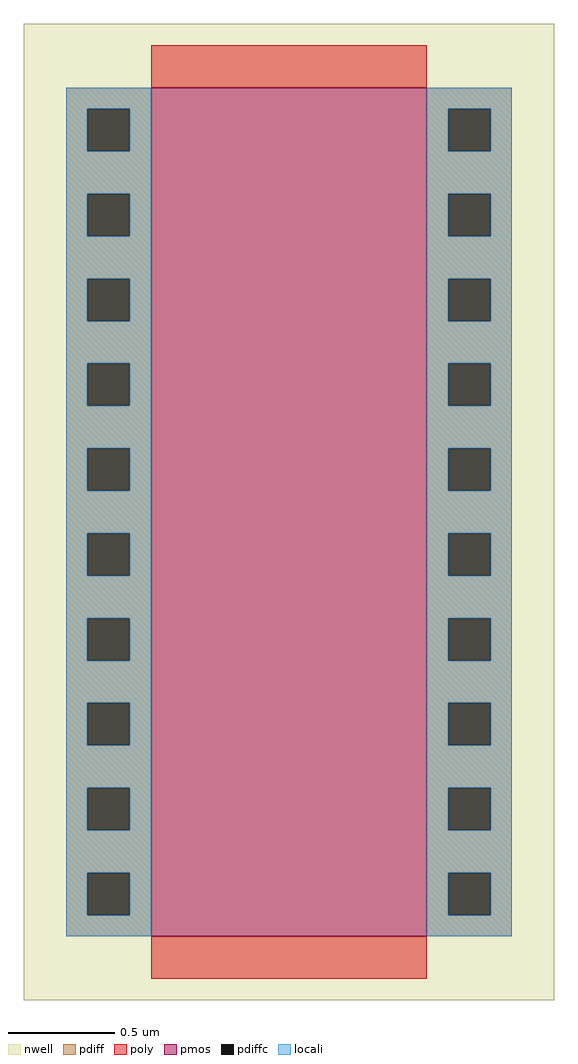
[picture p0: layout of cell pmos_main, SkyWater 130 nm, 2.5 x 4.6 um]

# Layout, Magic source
magic
tech sky130A
<< nwell >>
rect -60 220 190 680
<< pmos >>
rect 0 250 130 650
<< pdiff >>
rect -40 640 0 650
rect -40 620 -30 640
rect -10 620 0 640
rect -40 600 0 620
rect -40 580 -30 600
rect -10 580 0 600
rect -40 560 0 580
rect -40 540 -30 560
rect -10 540 0 560
rect -40 520 0 540
rect -40 500 -30 520
rect -10 500 0 520
rect -40 480 0 500
rect -40 460 -30 480
rect -10 460 0 480
rect -40 440 0 460
rect -40 420 -30 440
rect -10 420 0 440
rect -40 400 0 420
rect -40 380 -30 400
rect -10 380 0 400
rect -40 360 0 380
rect -40 340 -30 360
rect -10 340 0 360
rect -40 320 0 340
rect -40 300 -30 320
rect -10 300 0 320
rect -40 280 0 300
rect -40 260 -30 280
rect -10 260 0 280
rect -40 250 0 260
rect 130 640 170 650
rect 130 620 140 640
rect 160 620 170 640
rect 130 600 170 620
rect 130 580 140 600
rect 160 580 170 600
rect 130 560 170 580
rect 130 540 140 560
rect 160 540 170 560
rect 130 520 170 540
rect 130 500 140 520
rect 160 500 170 520
rect 130 480 170 500
rect 130 460 140 480
rect 160 460 170 480
rect 130 440 170 460
rect 130 420 140 440
rect 160 420 170 440
rect 130 400 170 420
rect 130 380 140 400
rect 160 380 170 400
rect 130 360 170 380
rect 130 340 140 360
rect 160 340 170 360
rect 130 320 170 340
rect 130 300 140 320
rect 160 300 170 320
rect 130 280 170 300
rect 130 260 140 280
rect 160 260 170 280
rect 130 250 170 260
<< pdiffc >>
rect -30 620 -10 640
rect -30 580 -10 600
rect -30 540 -10 560
rect -30 500 -10 520
rect -30 460 -10 480
rect -30 420 -10 440
rect -30 380 -10 400
rect -30 340 -10 360
rect -30 300 -10 320
rect -30 260 -10 280
rect 140 620 160 640
rect 140 580 160 600
rect 140 540 160 560
rect 140 500 160 520
rect 140 460 160 480
rect 140 420 160 440
rect 140 380 160 400
rect 140 340 160 360
rect 140 300 160 320
rect 140 260 160 280
<< poly >>
rect 0 650 130 670
rect 0 230 130 250
<< locali >>
rect -40 640 0 650
rect -40 620 -30 640
rect -10 620 0 640
rect -40 600 0 620
rect -40 580 -30 600
rect -10 580 0 600
rect -40 560 0 580
rect -40 540 -30 560
rect -10 540 0 560
rect -40 520 0 540
rect -40 500 -30 520
rect -10 500 0 520
rect -40 480 0 500
rect -40 460 -30 480
rect -10 460 0 480
rect -40 440 0 460
rect -40 420 -30 440
rect -10 420 0 440
rect -40 400 0 420
rect -40 380 -30 400
rect -10 380 0 400
rect -40 360 0 380
rect -40 340 -30 360
rect -10 340 0 360
rect -40 320 0 340
rect -40 300 -30 320
rect -10 300 0 320
rect -40 280 0 300
rect -40 260 -30 280
rect -10 260 0 280
rect -40 250 0 260
rect 130 640 170 650
rect 130 620 140 640
rect 160 620 170 640
rect 130 600 170 620
rect 130 580 140 600
rect 160 580 170 600
rect 130 560 170 580
rect 130 540 140 560
rect 160 540 170 560
rect 130 520 170 540
rect 130 500 140 520
rect 160 500 170 520
rect 130 480 170 500
rect 130 460 140 480
rect 160 460 170 480
rect 130 440 170 460
rect 130 420 140 440
rect 160 420 170 440
rect 130 400 170 420
rect 130 380 140 400
rect 160 380 170 400
rect 130 360 170 380
rect 130 340 140 360
rect 160 340 170 360
rect 130 320 170 340
rect 130 300 140 320
rect 160 300 170 320
rect 130 280 170 300
rect 130 260 140 280
rect 160 260 170 280
rect 130 250 170 260
<< end >>
